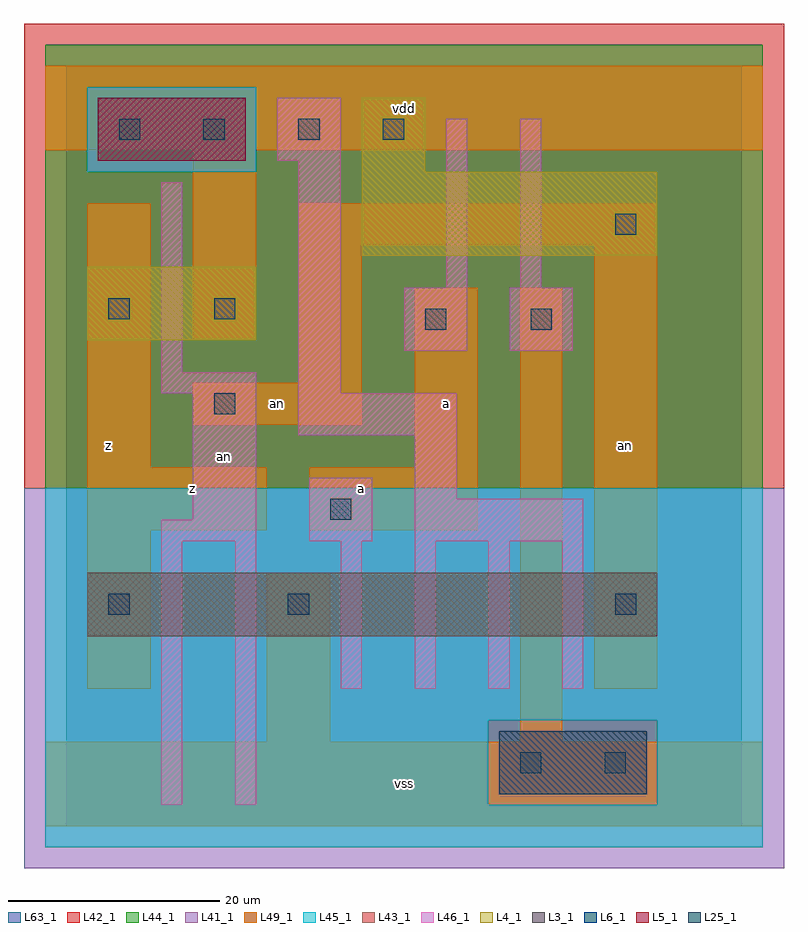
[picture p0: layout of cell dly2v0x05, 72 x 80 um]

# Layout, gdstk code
import gdstk
lib = gdstk.Library(unit=1e-6, precision=1e-09)
def R(c, l, rs):  # rectangles x0, y0, x1, y1
    for r in rs: c.add(gdstk.rectangle(r[:2], r[2:], *l))
def A(c, l, x, y, w, h, nx, ny, dx, dy):  # array of equal rectangles
    R(c, l, [(x+i*dx, y+j*dy, x+i*dx+w, y+j*dy+h) for i in range(nx) for j in range(ny)])
L3_1 = (3, 1)
L4_1 = (4, 1)
L5_1 = (5, 1)
L6_1 = (6, 1)
L25_1 = (25, 1)
L41_1 = (41, 1)
L42_1 = (42, 1)
L43_1 = (43, 1)
L44_1 = (44, 1)
L45_1 = (45, 1)
L46_1 = (46, 1)
L49_1 = (49, 1)
L63_1 = (63, 1)

dly2v0x05 = lib.new_cell('dly2v0x05')
R(dly2v0x05, L3_1, [(2,18,56,24)])
R(dly2v0x05, L4_1, [(2,46,18,53), (28,54,56,62), (28,62,34,69)])
R(dly2v0x05, L5_1, [(3,63,17,69)])
R(dly2v0x05, L6_1, [(41,3,55,9), (41,3,55,9)])
R(dly2v0x05, L25_1, [(43,5,45,7), (51,5,53,7), (4,20,6,22), (21,20,23,22), (52,20,54,22), (25,29,27,31), (14,39,16,41), (34,47,36,49), (44,47,46,49), (4,48,6,50), (14,48,16,50), (52,56,54,58), (5,65,7,67), (13,65,15,67), (22,65,24,67), (30,65,32,67)])
R(dly2v0x05, L41_1, [(-4,-4,68,32)])
R(dly2v0x05, L42_1, [(-4,32,68,76)])
R(dly2v0x05, L43_1, [(41,3,55,9), (2,18,56,24), (2,46,18,53), (28,54,56,62), (28,62,34,69), (3,63,17,69)])
R(dly2v0x05, L44_1, [(40,2,56,10), (-2,32,66,62), (-2,62,2,70), (18,62,66,70), (-2,70,66,74)])
R(dly2v0x05, L45_1, [(-2,-2,66,2), (-2,2,40,10), (56,2,66,10), (-2,10,66,32), (2,62,18,70)])
A(dly2v0x05, L46_1, 26, 13, 2, 14, 4, 1, 7, 0)
R(dly2v0x05, L46_1, [(9,2,11,27), (16,2,18,27), (9,27,18,29), (23,27,29,33), (33,27,49,31), (12,29,18,41), (33,31,37,37), (22,37,37,41), (9,41,18,43), (22,41,26,63), (9,43,11,61), (32,45,38,51), (42,45,48,51), (36,51,38,67), (43,51,45,67), (20,63,26,69)])
R(dly2v0x05, L49_1, [(-2,0,66,8), (19,8,25,24), (43,8,47,51), (2,13,8,28), (50,13,56,55), (2,28,19,34), (23,28,39,34), (2,34,8,59), (33,34,39,51), (12,38,28,42), (22,42,28,55), (12,46,18,64), (22,55,56,59), (-2,64,66,72)])
R(dly2v0x05, L63_1, [(0,0,64,72)])
dly2v0x05.add(gdstk.Label('an', (15,35), layer=46, texttype=1))
dly2v0x05.add(gdstk.Label('z', (12,32), layer=49, texttype=1))
dly2v0x05.add(gdstk.Label('z', (4,36), layer=49, texttype=1))
dly2v0x05.add(gdstk.Label('a', (28,32), layer=49, texttype=1))
dly2v0x05.add(gdstk.Label('an', (20,40), layer=49, texttype=1))
dly2v0x05.add(gdstk.Label('vss', (32,4), layer=49, texttype=1))
dly2v0x05.add(gdstk.Label('a', (36,40), layer=49, texttype=1))
dly2v0x05.add(gdstk.Label('vdd', (32,68), layer=49, texttype=1))
dly2v0x05.add(gdstk.Label('an', (53,36), layer=49, texttype=1))

lib.write_gds('dly2v0x05.gds')
